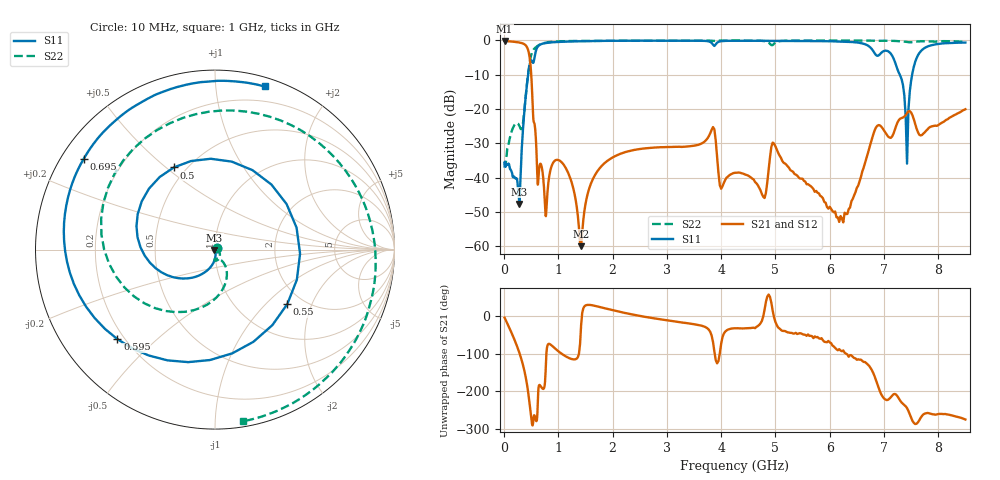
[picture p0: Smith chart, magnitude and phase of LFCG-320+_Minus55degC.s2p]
! Mini-Circuits
! S2P DATA File Format
! Type: LOW PASS FILTER
! Model: LFCG-320+
! All S Parameters are in dB deg format
! TEST CONDITIONS: INPUT POWER = 0 dBm @ Temperature = -55 deg C
# MHz S dB R 50
!Frequency  S11 dB  S11 DEG  S21 dB  S21 DEG  S12 dB  S12 DEG  S22 dB  S22 DEG
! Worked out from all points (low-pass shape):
!   502 points, 10 MHz to 8.5 GHz, reference 50 ohm
!   highest |S21| = -0.16 dB at 10 MHz (marker M1); lowest = -60.0 dB at 1.42 GHz (marker M2)
!   |S21| within 3 dB of the highest: start of sweep to 449.3 MHz
!   lowest |S11| = -47.7 dB at 280 MHz (marker M3), VSWR 1.01, Z = 49.6 - j0.139 ohm
!   |S11| at or under -10 dB: start of sweep to 443.2 MHz; 7.291 GHz to 7.519 GHz (227.5 MHz wide, 3.07 % of centre)
!   |S22| runs from -36.3 to 0.0 dB; largest |S21 - S12| = 0.00094
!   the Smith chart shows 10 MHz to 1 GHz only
!   S11 on the Smith chart (normalised r, x): 10 MHz: 1.02, +0.02; 500 MHz: 0.43, +0.53; 550 MHz: 1.66, -1.35; 595 MHz: 0.17, -0.38; 695 MHz: 0.06, +0.31; 1 GHz: 0.07, +1.35
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10  -36.74 36.9  -0.16 -3.5  -0.16 -3.4  -36.31 32.5
280  -47.68 -160.2  -0.61 -96.5  -0.61 -96.5  -24.78 -92.2
410  -14.60 -125.5  -1.65 -171.1  -1.65 -171.1  -14.41 -71.6
500  -5.81 116.6  -9.89 88.5  -9.89 88.5  -4.19 -179.9
550  -5.94 -37.1  -23.91 94.2  -23.91 94.2  -2.53 109.7
595  -2.64 -137.5  -31.59 80.0  -31.59 80.0  -1.86 62.8
695  -1.02 145.4  -36.99 169.1  -36.99 169.1  -0.96 -2.8
770  -0.76 118.5  -51.25 -129.3  -51.23 -129.2  -0.62 -32.1
1000  -0.45 73.1  -34.88 -93.2  -34.88 -93.2  -0.27 -80.6
1420  -0.23 30.7  -60.00 -22.7  -59.88 -22.6  -0.15 -117.6
1440  -0.23 29.3  -55.93 9.4  -56.00 9.5  -0.15 -118.7
1800  -0.13 6.4  -36.58 23.7  -36.58 23.7  -0.11 -134.1
2840  -0.07 -38.3  -31.18 -6.9  -31.19 -7.0  -0.08 -155.2
4275  -0.09 -73.2  -38.58 -31.9  -38.58 -31.9  -0.02 -169.0
4775  -0.11 -82.9  -45.59 -0.3  -45.57 -0.3  -0.14 -175.6
4975  -0.15 -86.3  -30.11 -3.0  -30.11 -3.1  -0.95 -170.4
5675  -0.19 -99.6  -42.87 -53.0  -42.90 -53.2  -0.01 177.9
6200  -0.31 -112.8  -51.23 -91.4  -51.26 -91.7  -0.01 170.7
7100  -3.43 -151.4  -28.30 140.1  -28.30 139.9  -0.11 156.7
7425  -35.94 34.9  -21.18 114.8  -21.17 114.7  -0.46 151.0
7675  -3.20 -69.7  -27.70 88.9  -27.70 88.7  -0.25 148.8
8500  -0.62 -128.3  -20.07 84.4  -20.06 84.3  -0.47 128.6
